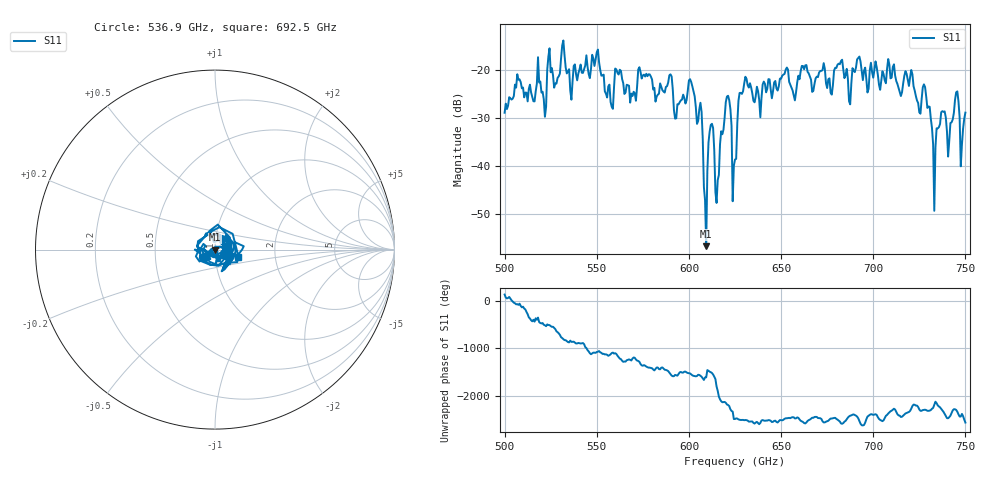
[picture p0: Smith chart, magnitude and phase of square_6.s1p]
!Created with skrf (http://scikit-rf.org).
# GHz S MA R 50.0
!freq magS11 angS11
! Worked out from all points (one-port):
!   401 points, 500 GHz to 750 GHz, reference 50 ohm
!   lowest |S11| = -56.8 dB at 609.4 GHz (marker M1), VSWR 1.00, Z = 49.9 - j0.0157 ohm
!   |S11| at or under -10 dB: start of sweep to end of sweep
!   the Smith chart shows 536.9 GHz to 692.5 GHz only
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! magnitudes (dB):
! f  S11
! 500 GHz  -29.0
! 507.5 GHz  -22.1
! 521.2 GHz  -26.2
! 531.2 GHz  -15.0
! 535.6 GHz  -24.4
! 550.6 GHz  -15.8
! 557.5 GHz  -26.7
! 562.5 GHz  -20.1
! 590 GHz  -21.0
! 593.8 GHz  -27.2
! 601.9 GHz  -23.5
! 606.2 GHz  -26.9
! 609.4 GHz  -56.8
! 611.9 GHz  -31.5
! 615.6 GHz  -43.0
! 621.2 GHz  -25.5
! 625 GHz  -38.7
! 627.5 GHz  -24.9
! 630.6 GHz  -21.5
! 656.2 GHz  -24.4
! 681.9 GHz  -18.9
! 687.5 GHz  -27.3
! 691.9 GHz  -17.6
! 718.8 GHz  -22.2
! 728.1 GHz  -23.7
! 733.1 GHz  -49.4
! 738.1 GHz  -28.8
! 750 GHz  -29.0
